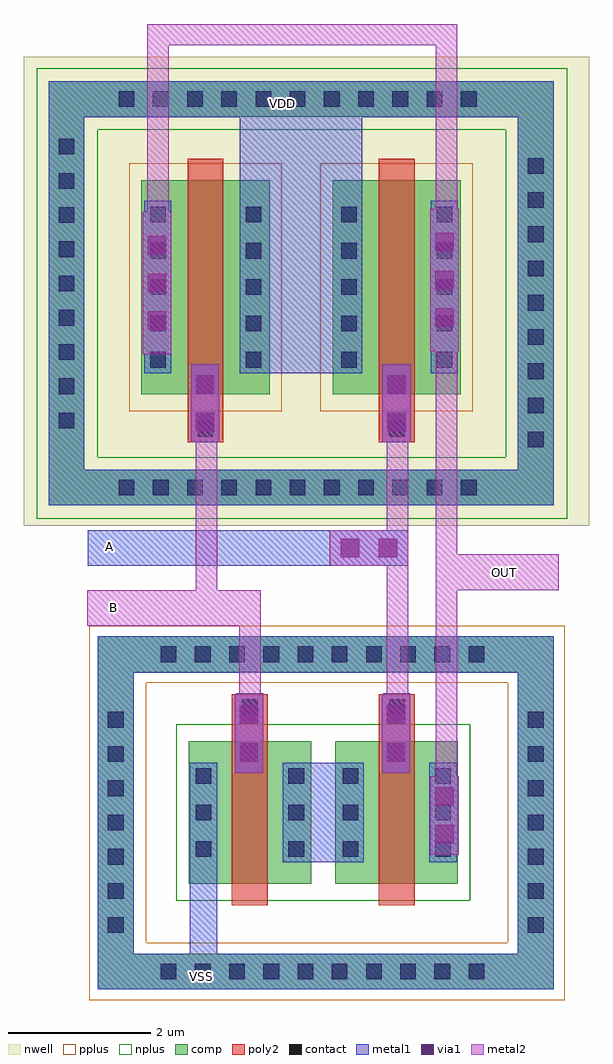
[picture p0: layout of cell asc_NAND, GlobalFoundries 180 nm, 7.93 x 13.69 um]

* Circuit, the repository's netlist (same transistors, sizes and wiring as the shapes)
** sch_path: /foss/designs/libs/core_analog/asc_NAND/asc_NAND.sch
.subckt asc_NAND VDD OUT A B VSS
*.PININFO VDD:B VSS:B B:B A:B OUT:B
M1 OUT A net1 VSS nfet_03v3 L=0.5u W=2u nf=2 m=1
M2 OUT A VDD VDD pfet_03v3 L=0.5u W=3u nf=1 m=1
M3 net1 B VSS VSS nfet_03v3 L=0.5u W=2u nf=2 m=1
M4 OUT B VDD VDD pfet_03v3 L=0.5u W=3u nf=1 m=1
.ends

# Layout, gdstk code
from math import pi, radians
import gdstk
lib = gdstk.Library(unit=1e-6, precision=5e-09)
def R(c, l, rs):  # rectangles x0, y0, x1, y1
    for r in rs: c.add(gdstk.rectangle(r[:2], r[2:], *l))
def A(c, l, x, y, w, h, nx, ny, dx, dy):  # array of equal rectangles
    R(c, l, [(x+i*dx, y+j*dy, x+i*dx+w, y+j*dy+h) for i in range(nx) for j in range(ny)])
def P(c, l, *ps):  # polygons
    for p in ps: c.add(gdstk.Polygon(p, *l))
nwell = (21, 0)
comp = (22, 0)
poly2 = (30, 0)
pplus = (31, 0)
nplus = (32, 0)
contact = (33, 0)
metal1 = (34, 0)
via1 = (35, 0)
metal2 = (36, 0)

via_dev_4 = lib.new_cell('via_dev$4')
R(via_dev_4, metal1, [(0,0,0.4,1.1)])
R(via_dev_4, via1, [(0.07,0.155,0.33,0.415), (0.07,0.685,0.33,0.945)])
R(via_dev_4, metal2, [(0,0,0.4,1.1)])

via_dev_6 = lib.new_cell('via_dev$6')
R(via_dev_6, metal1, [(0,0,0.4,2)])
A(via_dev_6, via1, 0.07, 0.34, 0.26, 0.26, 1, 3, 0, 0.53)
R(via_dev_6, metal2, [(0,0,0.4,2)])

via_dev_5 = lib.new_cell('via_dev$5')
R(via_dev_5, comp, [(0,0,0.5,5.5)])
A(via_dev_5, contact, 0.14, 0.24, 0.22, 0.22, 1, 11, 0, 0.48)
R(via_dev_5, metal1, [(0,0,0.5,5.5)])

via_dev_2 = lib.new_cell('via_dev$2')
R(via_dev_2, comp, [(0,0,0.5,4.5)])
A(via_dev_2, contact, 0.14, 0.22, 0.22, 0.22, 1, 9, 0, 0.48)
R(via_dev_2, metal1, [(0,0,0.5,4.5)])

via_dev_1 = lib.new_cell('via_dev$1')
R(via_dev_1, comp, [(0,0,0.5,5)])
A(via_dev_1, contact, 0.14, 0.23, 0.22, 0.22, 1, 10, 0, 0.48)
R(via_dev_1, metal1, [(0,0,0.5,5)])

via_dev = lib.new_cell('via_dev')
R(via_dev, comp, [(0,0,0.5,3.5)])
A(via_dev, contact, 0.14, 0.2, 0.22, 0.22, 1, 7, 0, 0.48)
R(via_dev, metal1, [(0,0,0.5,3.5)])

pfet_1 = lib.new_cell('pfet$1')
R(pfet_1, nwell, [(-0.9,-0.44,1.78,3.44)])
R(pfet_1, comp, [(-0.46,0,0,3), (0,0,0.88,3), (0.88,0,1.34,3)])
R(pfet_1, poly2, [(0.19,-0.68,0.69,-0.3), (0.19,-0.3,0.69,3.3)])
R(pfet_1, pplus, [(-0.63,-0.24,1.51,3.24)])
A(pfet_1, contact, -0.34, 0.37, 0.22, 0.22, 1, 5, 0, 0.51)
A(pfet_1, contact, 1, 0.37, 0.22, 0.22, 1, 5, 0, 0.51)
R(pfet_1, contact, [(0.33,-0.6,0.55,-0.38)])
R(pfet_1, metal1, [(0.25,-0.68,0.63,-0.3), (-0.42,0.29,-0.04,2.71), (0.92,0.29,1.3,2.71)])

nfet = lib.new_cell('nfet')
R(nfet, comp, [(-0.42,0,0,2), (0,0,0.88,2), (0.88,0,1.3,2)])
R(nfet, poly2, [(0.19,-0.3,0.69,2.3), (0.19,2.3,0.69,2.66)])
R(nfet, nplus, [(-0.59,-0.24,1.47,2.24)])
A(nfet, contact, -0.32, 0.38, 0.22, 0.22, 1, 3, 0, 0.51)
A(nfet, contact, 0.98, 0.38, 0.22, 0.22, 1, 3, 0, 0.51)
R(nfet, contact, [(0.33,2.37,0.55,2.59)])
R(nfet, metal1, [(-0.4,0.3,-0.02,1.7), (0.9,0.3,1.28,1.7), (0.25,2.29,0.63,2.67)])

via_dev_7 = lib.new_cell('via_dev$7')
R(via_dev_7, metal1, [(0,0,0.5,1.1)])
R(via_dev_7, via1, [(0.12,0.155,0.38,0.415), (0.12,0.685,0.38,0.945)])
R(via_dev_7, metal2, [(0,0,0.5,1.1)])

asc_nand = lib.new_cell('asc_NAND')
R(asc_nand, nwell, [(-0.5,3.81,7.43,10.39)])
R(asc_nand, comp, [(0.54,-2.69,1.04,-2.1), (1.04,-2.69,1.19,-2.19), (6.19,-2.69,6.43,-2.19), (6.43,-2.69,6.93,-2.1), (0.54,1.4,1.04,1.76), (6.43,1.4,6.93,2.26), (0.54,1.76,1.19,2.26), (6.19,1.76,6.93,2.26), (-0.15,4.1,0.35,4.96), (-0.15,4.1,0.59,4.6), (6.09,4.1,6.43,4.6), (6.43,4.1,6.93,4.69), (6.43,9.19,6.93,10.05), (-0.15,9.46,0.35,10.05), (0.35,9.55,0.59,10.05), (6.09,9.55,6.93,10.05)])
P(asc_nand, nplus, [(-0.32,3.91),(-0.32,10.15),(0.54,10.15),(0.54,3.91),(0.4,3.91)],
  [(6.26,3.91),(6.26,10.15),(7.12,10.15),(7.12,3.91),(6.98,3.91)],
  [(-0.32,3.91),(-0.32,4.77),(7.12,4.77),(7.12,4.5),(7.12,3.91)],
  [(-0.32,9.37),(-0.32,10.23),(7.12,10.23),(7.12,9.96),(7.12,9.37)])
R(asc_nand, metal1, [(0.54,-2.69,1.04,1.76), (0.54,-2.69,6.93,-2.19), (0.54,-2.69,1.19,-2.19), (0.54,-2.69,1.04,-2.1), (6.19,-2.69,6.93,-2.19), (6.43,-2.69,6.93,2.26), (6.43,-2.68,6.93,-2.1), (3.13,-0.91,4.27,0.49), (0.54,1.4,1.04,1.76), (6.43,1.4,6.93,2.25), (0.54,1.75,6.93,2.26), (0.54,1.76,1.19,2.26), (6.14,1.76,6.93,2.26), (-0.15,4.1,0.59,4.6), (6.09,4.1,6.93,4.6), (-0.15,4.11,0.35,4.96), (6.43,4.11,6.93,4.69), (2.53,5.95,4.25,10), (6.43,9.19,6.93,10.04), (-0.15,9.46,0.35,10.04), (-0.15,9.54,6.93,10.05), (-0.15,9.55,0.59,10.05), (6.09,9.55,6.93,10.05)])
P(asc_nand, metal1, [(1.83,-2.55),(1.83,0.49),(2.21,0.49),(2.21,-2.55),(1.97,-2.55)],
  [(0.4,3.25),(0.4,3.54),(0.4,3.75),(4.89,3.75),(4.89,3.25)])
asc_nand.add(gdstk.FlexPath([(2.82,2.56),(1.91,2.56)], 0.3, ends="flush", simple_path=True, layer=36, datatype=0))  # metal2
asc_nand.add(gdstk.FlexPath([(2.06,5.24),(2.06,2.41)], 0.3, ends="flush", simple_path=True, layer=36, datatype=0))  # metal2
asc_nand.add(gdstk.FlexPath([(2.67,1.16),(2.67,2.71)], 0.3, ends="flush", simple_path=True, layer=36, datatype=0))  # metal2
asc_nand.add(gdstk.FlexPath([(4.74,1.16),(4.74,5.22)], 0.3, ends="flush", simple_path=True, layer=36, datatype=0))  # metal2
asc_nand.add(gdstk.FlexPath([(1.38,10.7),(5.53,10.7)], 0.3, ends="flush", simple_path=True, layer=36, datatype=0))  # metal2
asc_nand.add(gdstk.FlexPath([(1.38,6.25),(1.38,10.85)], 0.3, ends="flush", simple_path=True, layer=36, datatype=0))  # metal2
asc_nand.add(gdstk.FlexPath([(5.43,0.19),(5.43,10.85)], 0.3, ends="flush", simple_path=True, layer=36, datatype=0))  # metal2
asc_nand.add(gdstk.FlexPath([(2.82,2.66),(0.39,2.66)], 0.5, ends="flush", simple_path=True, layer=36, datatype=0))  # metal2
asc_nand.add(gdstk.FlexPath([(5.43,3.16),(7,3.16)], 0.5, ends="flush", simple_path=True, layer=36, datatype=0))  # metal2
asc_nand.add(gdstk.FlexPath([(6.69,2.41),(6.69,-2.84)], 0.8, ends="flush", simple_path=True, layer=31, datatype=0))  # pplus
asc_nand.add(gdstk.FlexPath([(7.09,-2.44),(0.42,-2.44)], 0.8, ends="flush", simple_path=True, layer=31, datatype=0))  # pplus
asc_nand.add(gdstk.FlexPath([(0.82,2.41),(0.82,-2.84)], 0.8, ends="flush", simple_path=True, layer=31, datatype=0))  # pplus
asc_nand.add(gdstk.FlexPath([(7.09,2.01),(0.42,2.01)], 0.8, ends="flush", simple_path=True, layer=31, datatype=0))  # pplus
asc_nand.add(gdstk.Reference(via_dev_4, (2.86,0.35), rotation=pi, x_reflection=True))
asc_nand.add(gdstk.Reference(via_dev_4, (2.24,4.98), rotation=pi, x_reflection=True))
asc_nand.add(gdstk.Reference(via_dev_4, (4.92,0.35), rotation=pi, x_reflection=True))
asc_nand.add(gdstk.Reference(via_dev_4, (4.93,4.98), rotation=pi, x_reflection=True))
asc_nand.add(gdstk.Reference(via_dev_6, (1.57,6.22), rotation=pi, x_reflection=True))
asc_nand.add(gdstk.Reference(via_dev_6, (5.6,6.26), rotation=pi, x_reflection=True))
asc_nand.add(gdstk.Reference(via_dev_4, (5.6,-0.8), rotation=pi, x_reflection=True))
asc_nand.add(gdstk.Reference(via_dev_5, (0.59,9.55), rotation=pi/2, x_reflection=True))
asc_nand.add(gdstk.Reference(via_dev_5, (0.59,4.1), rotation=pi/2, x_reflection=True))
asc_nand.add(gdstk.Reference(via_dev_2, (6.93,4.69), rotation=pi, x_reflection=True))
asc_nand.add(gdstk.Reference(via_dev_1, (1.19,1.76), rotation=pi/2, x_reflection=True))
asc_nand.add(gdstk.Reference(via_dev_1, (1.19,-2.69), rotation=pi/2, x_reflection=True))
asc_nand.add(gdstk.Reference(via_dev, (1.04,-2.1), rotation=pi, x_reflection=True))
asc_nand.add(gdstk.Reference(via_dev, (6.93,-2.1), rotation=pi, x_reflection=True))
asc_nand.add(gdstk.Reference(pfet_1, (5.17,5.66), rotation=pi, x_reflection=True))
asc_nand.add(gdstk.Reference(pfet_1, (2.49,5.66), rotation=pi, x_reflection=True))
asc_nand.add(gdstk.Reference(nfet, (3.11,-1.21), rotation=pi, x_reflection=True))
asc_nand.add(gdstk.Reference(nfet, (5.17,-1.21), rotation=pi, x_reflection=True))
asc_nand.add(gdstk.Reference(via_dev_7, (4.89,3.25), rotation=pi/2))
asc_nand.add(gdstk.Reference(via_dev_2, (-0.15,9.46), x_reflection=True))
asc_nand.add(gdstk.Label('OUT', (6.24,3.16), layer=34, texttype=10))
asc_nand.add(gdstk.Label('A', (0.7,3.52), layer=34, texttype=10))
asc_nand.add(gdstk.Label('VDD', (3.13,9.74), layer=34, texttype=10))
asc_nand.add(gdstk.Label('VSS', (1.99,-2.51), layer=34, texttype=10))
asc_nand.add(gdstk.Label('B', (0.76,2.66), layer=36, texttype=10))

lib.write_gds('asc_NAND.gds')
